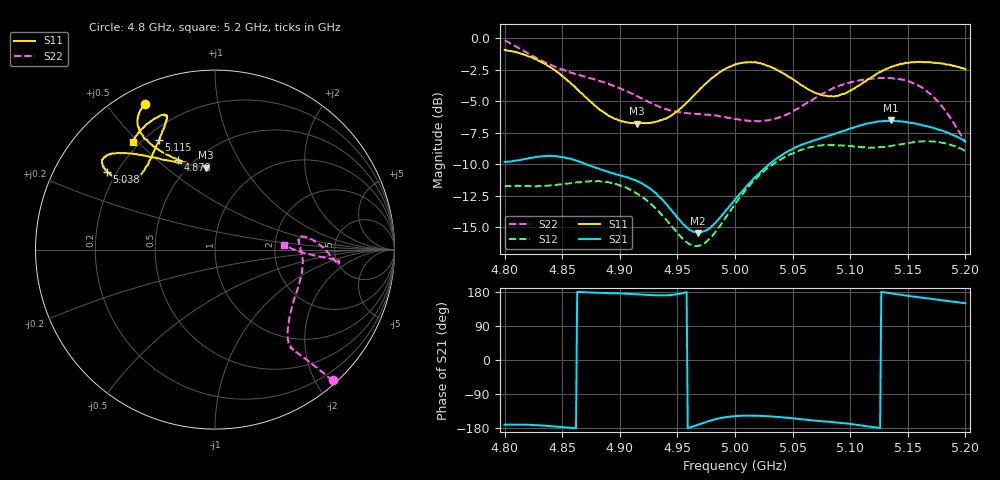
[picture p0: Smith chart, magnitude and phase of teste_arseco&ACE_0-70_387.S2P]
! Network Analyzer HP8722D
! Hewlett-Packard
! Data name: Linha & Wilkinson
! Saver's name: Rodrigo Anjos
! Comments: Teste da utilização de aquisição
! continua pelo VNA HP8722D
! Time and date: 8/5/2025 15:59
!  Frequency  S11  S21  S12  S22
# HZ  S  MA R 50
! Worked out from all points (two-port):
!   401 points, 4.8 GHz to 5.2 GHz, reference 50 ohm
!   highest |S21| = -6.52 dB at 5.135 GHz (marker M1); lowest = -15.5 dB at 4.968 GHz (marker M2)
!   |S21| within 3 dB of the highest: 4.821 GHz to 4.854 GHz (33.5 MHz wide, 0.692 % of centre); 5.037 GHz to end of sweep
!   lowest |S11| = -6.8 dB at 4.915 GHz (marker M3), VSWR 2.69, Z = 30.2 + j34.9 ohm
!   |S11| at or under -10 dB: nowhere
!   |S22| runs from -8.3 to -0.2 dB; largest |S21 - S12| = 0.83
!   S11 on the Smith chart (normalised r, x): 4.8 GHz: 0.07, +0.63; 4.878 GHz: 0.41, +0.58; 5.038 GHz: 0.16, +0.31; 5.115 GHz: 0.25, +0.58; 5.2 GHz: 0.17, +0.48
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4.8e9  0.9007 115.7  0.323 -170.8  0.2588 -86.3  0.9811 -48.0
4.819e9  0.8562 120.1  0.3321 -170.8  0.2583 -82.1  0.8782 -49.2
4.836e9  0.7885 122.3  0.3405 -173.7  0.2597 -76.5  0.8003 -50.2
4.867e9  0.605 117.4  0.3212 179.1  0.2687 -68.0  0.7104 -52.0
4.878e9  0.5417 112.6  0.3075 177.6  0.2704 -66.8  0.6866 -52.2
4.899e9  0.4715 101.0  0.2865 175.8  0.2619 -67.6  0.6357 -50.4
4.915e9  0.4587 96.1  0.2705 173.3  0.2417 -69.2  0.5892 -46.3
4.934e9  0.4694 100.2  0.2347 170.6  0.2049 -70.1  0.5354 -36.9
4.956e9  0.5431 115.2  0.1809 177.7  0.158 -60.4  0.5048 -22.3
4.968e9  0.6166 123.7  0.1686 -170.7  0.1494 -47.2  0.5005 -15.2
4.98e9  0.6948 130.0  0.1798 -158.6  0.1635 -34.0  0.4957 -9.0
5e9  0.7877 137.2  0.2287 -148.4  0.2197 -21.7  0.478 -0.2
5.019e9  0.8012 141.8  0.2857 -147.2  0.2794 -19.1  0.4684 5.7
5.038e9  0.7426 144.3  0.3376 -150.5  0.3278 -19.4  0.4837 8.5
5.067e9  0.616 141.8  0.3919 -159.0  0.3712 -21.6  0.5685 3.8
5.088e9  0.5911 132.7  0.4196 -165.0  0.3768 -24.8  0.6413 -2.8
5.115e9  0.6854 117.2  0.4592 -174.6  0.3676 -27.7  0.6884 -6.3
5.134e9  0.7652 110.7  0.4697 176.7  0.3724 -29.8  0.6963 -5.8
5.135e9  0.7676 110.8  0.4718 176.1  0.374 -29.7  0.6953 -5.6
5.16e9  0.8061 111.9  0.455 165.3  0.389 -36.0  0.6469 -4.5
5.178e9  0.795 118.2  0.432 158.4  0.3861 -41.6  0.5471 -3.3
5.2e9  0.7542 127.5  0.3889 149.6  0.3578 -47.6  0.3855 3.6
